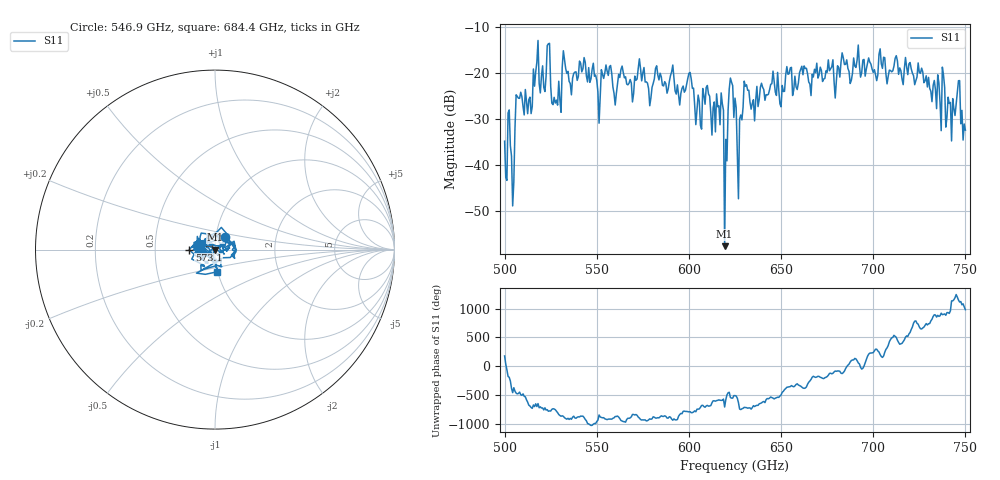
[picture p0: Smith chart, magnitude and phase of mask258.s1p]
!Created with skrf (http://scikit-rf.org).
# GHz S MA R 50.0
!freq magS11 angS11
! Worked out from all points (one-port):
!   401 points, 500 GHz to 750 GHz, reference 50 ohm
!   lowest |S11| = -57.8 dB at 619.4 GHz (marker M1), VSWR 1.00, Z = 50.1 + j0.0276 ohm
!   |S11| at or under -10 dB: start of sweep to end of sweep
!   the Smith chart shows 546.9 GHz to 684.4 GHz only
!   S11 on the Smith chart (normalised r, x): 546.9 GHz: 1.10, +0.15; 573.1 GHz: 0.75, -0.00; 684.4 GHz: 0.99, -0.25
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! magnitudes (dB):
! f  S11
! 500 GHz  -34.9
! 504.4 GHz  -49.0
! 507.5 GHz  -25.5
! 513.8 GHz  -25.2
! 516.9 GHz  -19.7
! 523.8 GHz  -13.6
! 526.9 GHz  -25.3
! 531.2 GHz  -18.7
! 546.9 GHz  -21.2
! 550.6 GHz  -24.1
! 562.5 GHz  -20.9
! 573.1 GHz  -16.9
! 593.8 GHz  -22.6
! 617.5 GHz  -24.3
! 619.4 GHz  -57.8
! 620.6 GHz  -39.1
! 622.5 GHz  -21.1
! 625 GHz  -25.4
! 627.5 GHz  -30.0
! 631.2 GHz  -22.5
! 634.4 GHz  -26.6
! 656.2 GHz  -24.9
! 684.4 GHz  -18.1
! 687.5 GHz  -22.3
! 718.8 GHz  -20.3
! 741.2 GHz  -26.6
! 745.6 GHz  -23.9
! 750 GHz  -32.4
